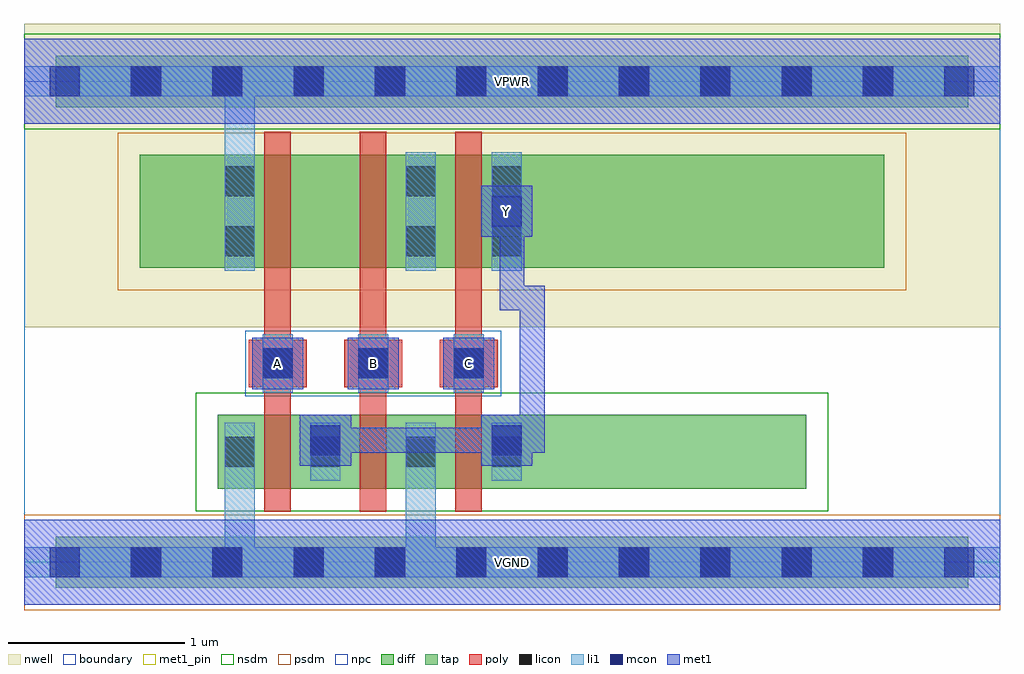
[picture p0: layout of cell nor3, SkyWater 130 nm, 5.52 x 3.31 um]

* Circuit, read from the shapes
.subckt nor3 A B C VGND VPWR Y
XM1 Y A VGND VGND sky130_fd_pr__nfet_01v8 w=0.42 l=0.15
XM2 VGND B Y VGND sky130_fd_pr__nfet_01v8 w=0.42 l=0.15
XM3 Y C VGND VGND sky130_fd_pr__nfet_01v8 w=0.42 l=0.15
XM4 n1 A VPWR VPWR sky130_fd_pr__pfet_01v8 w=0.64 l=0.15
XM5 n2 B n1 VPWR sky130_fd_pr__pfet_01v8 w=0.64 l=0.15
XM6 Y C n2 VPWR sky130_fd_pr__pfet_01v8 w=0.64 l=0.15
.ends

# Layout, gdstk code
import gdstk
lib = gdstk.Library(unit=1e-6, precision=1e-09)
def R(c, l, rs):  # rectangles x0, y0, x1, y1
    for r in rs: c.add(gdstk.rectangle(r[:2], r[2:], *l))
def A(c, l, x, y, w, h, nx, ny, dx, dy):  # array of equal rectangles
    R(c, l, [(x+i*dx, y+j*dy, x+i*dx+w, y+j*dy+h) for i in range(nx) for j in range(ny)])
nwell = (64, 20)
diff = (65, 20)
tap = (65, 44)
poly = (66, 20)
licon = (66, 44)
li1 = (67, 20)
mcon = (67, 44)
met1_pin = (68, 16)
met1 = (68, 20)
nsdm = (93, 44)
psdm = (94, 20)
npc = (95, 20)
boundary = (235, 4)

nor3 = lib.new_cell('nor3')
R(nor3, nwell, [(0,1.33,5.52,3.045)])
R(nor3, diff, [(1.095,0.415,4.425,0.835), (0.655,1.665,4.865,2.305)])
R(nor3, tap, [(0.18,-0.145,5.34,0.145), (0.18,2.575,5.34,2.865)])
A(nor3, poly, 1.36, 0.285, 0.15, 2.15, 3, 1, 0.54, 0)
A(nor3, poly, 1.27, 0.99, 0.33, 0.27, 3, 1, 0.54, 0)
A(nor3, licon, 0.605, -0.085, 0.17, 0.17, 10, 2, 0.46, 2.72)
A(nor3, licon, 1.35, 1.04, 0.17, 0.17, 3, 1, 0.54, 0)
R(nor3, licon, [(1.135,0.54,1.305,0.71), (1.62,0.54,1.79,0.71), (2.16,0.54,2.33,0.71), (2.645,0.54,2.815,0.71), (1.135,1.73,1.305,1.9), (2.16,1.73,2.33,1.9), (2.645,1.73,2.815,1.9), (1.135,2.07,1.305,2.24), (2.16,2.07,2.33,2.24), (2.645,2.07,2.815,2.24)])
A(nor3, li1, 1.35, 0.96, 0.17, 0.33, 3, 1, 0.54, 0)
R(nor3, li1, [(0,-0.085,5.52,0.085), (1.135,-0.085,1.305,0.79), (2.16,-0.085,2.33,0.79), (1.135,0.46,1.305,0.79), (1.62,0.46,1.79,0.79), (2.16,0.46,2.33,0.79), (2.645,0.46,2.815,0.79), (1.135,1.65,1.305,2.32), (1.135,1.65,1.305,2.805), (2.16,1.65,2.33,2.32), (2.645,1.65,2.815,2.32), (0,2.635,5.52,2.805)])
A(nor3, mcon, 0.145, -0.085, 0.17, 0.17, 12, 2, 0.46, 2.72)
A(nor3, mcon, 1.35, 1.04, 0.17, 0.17, 3, 1, 0.54, 0)
R(nor3, mcon, [(1.62,0.605,1.79,0.775), (2.645,0.605,2.815,0.775), (2.645,1.9,2.815,2.07)])
A(nor3, met1_pin, 1.29, 0.98, 0.29, 0.29, 3, 1, 0.54, 0)
R(nor3, met1_pin, [(0,-0.24,5.52,0.24), (2.585,1.84,2.875,2.13), (0,2.48,5.52,2.96)])
A(nor3, met1, 1.29, 0.98, 0.29, 0.29, 3, 1, 0.54, 0)
R(nor3, met1, [(0,-0.24,5.52,0.24), (1.56,0.545,1.85,0.835), (2.585,0.545,2.875,0.835), (1.635,0.62,1.91,0.76), (1.77,0.62,2.945,0.76), (2.66,0.62,2.945,0.76), (2.805,0.62,2.945,1.565), (2.69,1.425,2.83,2.025), (2.69,1.425,2.945,1.565), (2.585,1.84,2.875,2.13), (2.69,1.885,2.83,2.025), (0,2.48,5.52,2.96)])
R(nor3, nsdm, [(0.97,0.29,4.55,0.96), (0,2.45,5.52,2.99)])
R(nor3, psdm, [(0,-0.27,5.52,0.27), (0.53,1.54,4.99,2.43)])
R(nor3, npc, [(1.25,0.94,2.7,1.31)])
R(nor3, boundary, [(0,0,5.52,2.72)])
nor3.add(gdstk.Label('A', (1.435,1.125), layer=68, texttype=5))
nor3.add(gdstk.Label('B', (1.975,1.125), layer=68, texttype=5))
nor3.add(gdstk.Label('C', (2.515,1.125), layer=68, texttype=5))
nor3.add(gdstk.Label('Y', (2.73,1.985), layer=68, texttype=5))
nor3.add(gdstk.Label('VPWR', (2.76,2.72), layer=68, texttype=5))
nor3.add(gdstk.Label('VGND', (2.76,0), layer=68, texttype=5))
nor3.add(gdstk.Label('A', (1.435,1.125), layer=68, texttype=16))
nor3.add(gdstk.Label('B', (1.975,1.125), layer=68, texttype=16))
nor3.add(gdstk.Label('C', (2.515,1.125), layer=68, texttype=16))
nor3.add(gdstk.Label('Y', (2.73,1.985), layer=68, texttype=16))
nor3.add(gdstk.Label('VPWR', (2.76,2.72), layer=68, texttype=16))
nor3.add(gdstk.Label('VGND', (2.76,0), layer=68, texttype=16))

lib.write_gds('nor3.gds')
